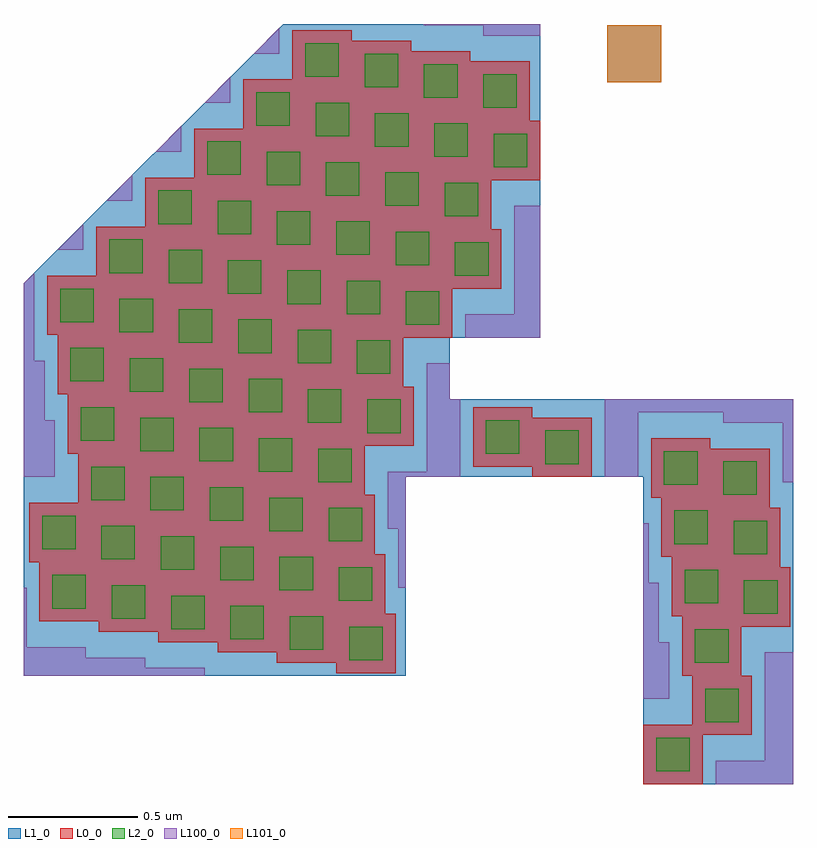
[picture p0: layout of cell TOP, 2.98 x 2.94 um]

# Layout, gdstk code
import gdstk
lib = gdstk.Library(unit=1e-6, precision=1e-09)
def R(c, l, rs):  # rectangles x0, y0, x1, y1
    for r in rs: c.add(gdstk.rectangle(r[:2], r[2:], *l))
def P(c, l, *ps):  # polygons
    for p in ps: c.add(gdstk.Polygon(p, *l))
L0_0 = (0, 0)
L1_0 = (1, 0)
L2_0 = (2, 0)
L100_0 = (100, 0)
L101_0 = (101, 0)

fill_cell = lib.new_cell('FILL_CELL')
R(fill_cell, L0_0, [(-0.1,-0.13,0.13,0.1)])
R(fill_cell, L2_0, [(-0.05,-0.08,0.08,0.05)])

top = lib.new_cell('TOP')
R(top, L1_0, [(1.76,1.79,1.97,2.01)])
P(top, L1_0, [(1.9,-0.93),(1.9,0.26),(0.98,0.26),(0.98,-0.51),(-0.5,-0.51),(-0.5,1.01),(0.505,2.015),(1.5,2.015),(1.5,0.8),(1.15,0.8),(1.15,0.56),(2.48,0.56),(2.48,-0.93)])
P(top, L100_0, [(2.18,-0.93),(2.18,-0.84),(2.37,-0.84),(2.37,-0.42),(2.48,-0.42),(2.48,-0.93)],
  [(-0.5,-0.51),(-0.5,-0.17),(-0.49,-0.17),(-0.49,-0.4),(-0.26,-0.4),(-0.26,-0.44),(-0.03,-0.44),(-0.03,-0.48),(0.2,-0.48),(0.2,-0.51)],
  [(1.9,-0.6),(1.9,0.08),(1.92,0.08),(1.92,-0.15),(1.96,-0.15),(1.96,-0.38),(2,-0.38),(2,-0.6)],
  [(2.44,0.24),(2.44,0.47),(2.21,0.47),(2.21,0.51),(1.88,0.51),(1.88,0.26),(1.75,0.26),(1.75,0.56),(2.48,0.56),(2.48,0.24)],
  [(0.95,-0.17),(0.95,0.06),(0.91,0.06),(0.91,0.28),(1.06,0.28),(1.06,0.7),(1.15,0.7),(1.15,0.56),(1.19,0.56),(1.19,0.26),(0.98,0.26),(0.98,-0.17)],
  [(-0.5,0.26),(-0.5,1.01),(-0.46,1.05),(-0.46,0.71),(-0.42,0.71),(-0.42,0.48),(-0.38,0.48),(-0.38,0.26)],
  [(-0.37,1.14),(-0.27,1.24),(-0.27,1.14)],
  [(1.21,0.8),(1.21,0.89),(1.4,0.89),(1.4,1.31),(1.5,1.31),(1.5,0.8)],
  [(-0.18,1.33),(-0.08,1.43),(-0.08,1.33)],
  [(0.01,1.52),(0.11,1.62),(0.11,1.52)],
  [(0.2,1.71),(0.3,1.81),(0.3,1.71)],
  [(0.39,1.9),(0.49,2),(0.49,1.9)],
  [(1.28,1.97),(1.28,2.01),(1.05,2.01),(1.05,2.015),(1.5,2.015),(1.5,1.97)])
R(top, L101_0, [(1.76,1.79,1.97,2.01)])
top.add(gdstk.Reference(fill_cell, (2,-0.8)))
top.add(gdstk.Reference(fill_cell, (2.19,-0.61)))
top.add(gdstk.Reference(fill_cell, (2.15,-0.38)))
top.add(gdstk.Reference(fill_cell, (2.11,-0.15)))
top.add(gdstk.Reference(fill_cell, (2.34,-0.19)))
top.add(gdstk.Reference(fill_cell, (2.07,0.08)))
top.add(gdstk.Reference(fill_cell, (2.3,0.04)))
top.add(gdstk.Reference(fill_cell, (2.03,0.31)))
top.add(gdstk.Reference(fill_cell, (2.26,0.27)))
top.add(gdstk.Reference(fill_cell, (-0.34,-0.17)))
top.add(gdstk.Reference(fill_cell, (-0.11,-0.21)))
top.add(gdstk.Reference(fill_cell, (0.12,-0.25)))
top.add(gdstk.Reference(fill_cell, (0.35,-0.29)))
top.add(gdstk.Reference(fill_cell, (0.58,-0.33)))
top.add(gdstk.Reference(fill_cell, (0.81,-0.37)))
top.add(gdstk.Reference(fill_cell, (-0.38,0.06)))
top.add(gdstk.Reference(fill_cell, (-0.15,0.02)))
top.add(gdstk.Reference(fill_cell, (0.08,-0.02)))
top.add(gdstk.Reference(fill_cell, (0.31,-0.06)))
top.add(gdstk.Reference(fill_cell, (0.54,-0.1)))
top.add(gdstk.Reference(fill_cell, (0.77,-0.14)))
top.add(gdstk.Reference(fill_cell, (-0.19,0.25)))
top.add(gdstk.Reference(fill_cell, (0.04,0.21)))
top.add(gdstk.Reference(fill_cell, (0.27,0.17)))
top.add(gdstk.Reference(fill_cell, (0.5,0.13)))
top.add(gdstk.Reference(fill_cell, (0.73,0.09)))
top.add(gdstk.Reference(fill_cell, (-0.23,0.48)))
top.add(gdstk.Reference(fill_cell, (0,0.44)))
top.add(gdstk.Reference(fill_cell, (0.23,0.4)))
top.add(gdstk.Reference(fill_cell, (0.46,0.36)))
top.add(gdstk.Reference(fill_cell, (0.69,0.32)))
top.add(gdstk.Reference(fill_cell, (-0.27,0.71)))
top.add(gdstk.Reference(fill_cell, (-0.04,0.67)))
top.add(gdstk.Reference(fill_cell, (0.19,0.63)))
top.add(gdstk.Reference(fill_cell, (0.42,0.59)))
top.add(gdstk.Reference(fill_cell, (0.65,0.55)))
top.add(gdstk.Reference(fill_cell, (0.88,0.51)))
top.add(gdstk.Reference(fill_cell, (1.34,0.43)))
top.add(gdstk.Reference(fill_cell, (1.57,0.39)))
top.add(gdstk.Reference(fill_cell, (-0.31,0.94)))
top.add(gdstk.Reference(fill_cell, (-0.08,0.9)))
top.add(gdstk.Reference(fill_cell, (0.15,0.86)))
top.add(gdstk.Reference(fill_cell, (0.38,0.82)))
top.add(gdstk.Reference(fill_cell, (0.61,0.78)))
top.add(gdstk.Reference(fill_cell, (0.84,0.74)))
top.add(gdstk.Reference(fill_cell, (-0.12,1.13)))
top.add(gdstk.Reference(fill_cell, (0.11,1.09)))
top.add(gdstk.Reference(fill_cell, (0.34,1.05)))
top.add(gdstk.Reference(fill_cell, (0.57,1.01)))
top.add(gdstk.Reference(fill_cell, (0.8,0.97)))
top.add(gdstk.Reference(fill_cell, (1.03,0.93)))
top.add(gdstk.Reference(fill_cell, (0.07,1.32)))
top.add(gdstk.Reference(fill_cell, (0.3,1.28)))
top.add(gdstk.Reference(fill_cell, (0.53,1.24)))
top.add(gdstk.Reference(fill_cell, (0.76,1.2)))
top.add(gdstk.Reference(fill_cell, (0.99,1.16)))
top.add(gdstk.Reference(fill_cell, (1.22,1.12)))
top.add(gdstk.Reference(fill_cell, (0.26,1.51)))
top.add(gdstk.Reference(fill_cell, (0.49,1.47)))
top.add(gdstk.Reference(fill_cell, (0.72,1.43)))
top.add(gdstk.Reference(fill_cell, (0.95,1.39)))
top.add(gdstk.Reference(fill_cell, (1.18,1.35)))
top.add(gdstk.Reference(fill_cell, (0.45,1.7)))
top.add(gdstk.Reference(fill_cell, (0.68,1.66)))
top.add(gdstk.Reference(fill_cell, (0.91,1.62)))
top.add(gdstk.Reference(fill_cell, (1.14,1.58)))
top.add(gdstk.Reference(fill_cell, (1.37,1.54)))
top.add(gdstk.Reference(fill_cell, (0.64,1.89)))
top.add(gdstk.Reference(fill_cell, (0.87,1.85)))
top.add(gdstk.Reference(fill_cell, (1.1,1.81)))
top.add(gdstk.Reference(fill_cell, (1.33,1.77)))

lib.write_gds('TOP.gds')
